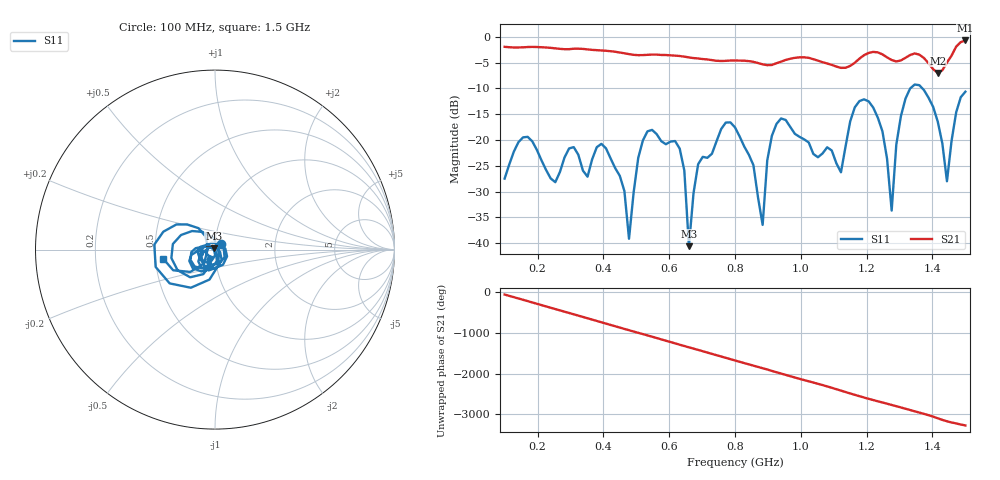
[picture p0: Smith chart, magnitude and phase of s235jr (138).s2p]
! NanoVNA-App
! Date: 2025-09-25 15:05:14
! Start: 100MHz Stop: 1,5GHz Points: 101
! S-Parameter data: F S11 S21 S12 S22
# Hz S RI R 50
!  Frequency  S11_Real  S11_Imag  S21_Real  S21_Imag  S12_Real  S12_Imag  S22_Real  S22_Imag
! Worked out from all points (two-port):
!   101 points, 100 MHz to 1.5 GHz, reference 50 ohm
!   highest |S21| = -0.73 dB at 1.5 GHz (marker M1); lowest = -7.0 dB at 1.416 GHz (marker M2)
!   |S21| within 3 dB of the highest: start of sweep to 630 MHz; 1.189 GHz to 1.255 GHz (66.34 MHz wide, 5.43 % of centre) (the widest 2 of 4)
!   lowest |S11| = -40.6 dB at 660 MHz (marker M3), VSWR 1.02, Z = 49.3 + j0.61 ohm
!   |S11| at or under -10 dB: start of sweep to 1.333 GHz; 1.369 GHz to end of sweep
!   S12 and S22 are empty: the file has one direction only
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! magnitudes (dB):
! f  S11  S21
! 100 MHz  -27.5  -2.0
! 170 MHz  -19.4  -2.0
! 338 MHz  -25.9  -2.4
! 408 MHz  -21.6  -2.7
! 478 MHz  -39.1  -3.4
! 520 MHz  -20.1  -3.6
! 576 MHz  -20.2  -3.5
! 632 MHz  -21.7  -3.7
! 660 MHz  -40.6  -4.0
! 688 MHz  -24.7  -4.2
! 800 MHz  -17.6  -4.6
! 884 MHz  -36.4  -5.4
! 926 MHz  -16.9  -5.1
! 1.038 GHz  -22.7  -4.4
! 1.122 GHz  -26.3  -6.0
! 1.206 GHz  -12.5  -3.2
! 1.248 GHz  -18.3  -3.4
! 1.276 GHz  -33.7  -4.5
! 1.332 GHz  -10.0  -3.6
! 1.416 GHz  -16.4  -7.0
! 1.444 GHz  -28.0  -5.0
! 1.5 GHz  -10.6  -0.7
